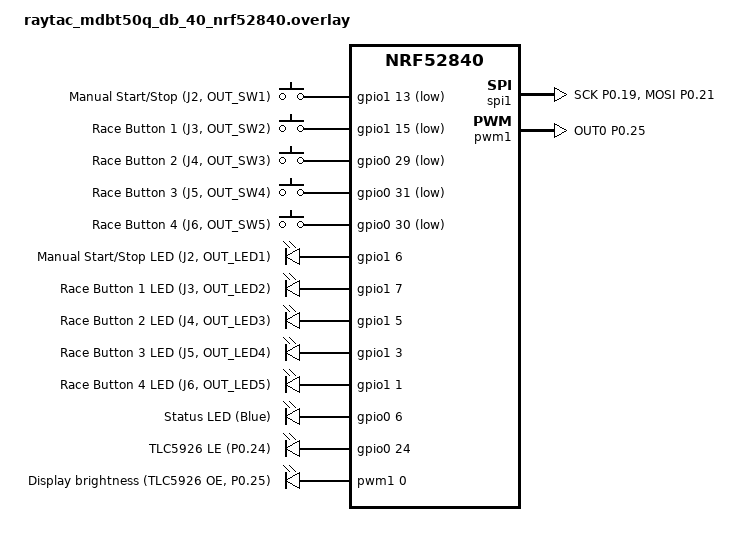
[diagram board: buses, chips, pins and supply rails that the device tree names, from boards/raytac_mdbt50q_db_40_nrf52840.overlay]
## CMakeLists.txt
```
cmake_minimum_required(VERSION 3.20.0)

find_package(Zephyr REQUIRED HINTS $ENV{ZEPHYR_BASE})
project(race_timer_firmware)

target_sources(app PRIVATE
    src/main.c
    src/ble_race_service.c
    src/buttons.c
    src/leds.c
    src/display.c
    src/race_timer.c
    src/race_manager.c
)

target_include_directories(app PRIVATE
    src
)
```

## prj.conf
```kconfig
# General
CONFIG_LOG=y
CONFIG_CONSOLE=y
# CONFIG_HEAP_MEM_POOL_SIZE=2048

# RTT console for logging (Segger J-Link)
CONFIG_USE_SEGGER_RTT=y
CONFIG_RTT_CONSOLE=y
CONFIG_LOG_BACKEND_RTT=y
CONFIG_LOG_BACKEND_UART=n

# Bluetooth
CONFIG_BT=y
CONFIG_BT_SMP=y
CONFIG_BT_PERIPHERAL=y
CONFIG_BT_DEVICE_NAME="RaceTimer"
CONFIG_BT_DEVICE_APPEARANCE=768
CONFIG_BT_MAX_CONN=5
CONFIG_BT_MAX_PAIRED=5

# GPIO
CONFIG_GPIO=y

# SPI + PWM + LED API for TLC5926 daisy-chain display driver
CONFIG_SPI=y
CONFIG_PWM=y
CONFIG_LED=y
CONFIG_LED_PWM=y
```

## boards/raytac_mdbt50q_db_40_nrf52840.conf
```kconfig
# Board-specific Kconfig for Raytac MDBT50Q-DB-40
# Disable UART console — using J-Link RTT instead.
CONFIG_SERIAL=n
CONFIG_UART_CONSOLE=n
```

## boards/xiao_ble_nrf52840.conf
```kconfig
# Board-specific Kconfig for Xiao BLE nRF52840
# Disable USB CDC ACM serial backend — using J-Link RTT for console.
CONFIG_BOARD_SERIAL_BACKEND_CDC_ACM=n
```

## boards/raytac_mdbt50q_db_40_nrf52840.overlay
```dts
/*
 * Device Tree Overlay for Race Timer Firmware
 * Board: raytac_mdbt50q_db_40/nrf52840
 *
 * This overlay disables unused/conflicting board peripherals and
 * configures the custom hardware from the Time_Clock_CTRL schematic.
 */

/ {
    /* ── Disable default board LEDs (P0.13, P0.14, P0.15 - not used) ── */
    leds {
        status = "disabled";
    };

    /* ── Disable default board buttons (P0.11, P0.12, P0.24, P0.25 - conflict with SPI CS) ── */
    buttons {
        status = "disabled";
    };

    /* ── Custom race button inputs ── */
    /* Active LOW with external 10k pull-ups to 3V3 on the mainboard */
    /* OUT_SW1 = Manual Start/Stop (auxiliary), OUT_SW2-SW5 = Race Buttons 1-4 */
    race_buttons {
        compatible = "gpio-keys";
        status = "okay";

        button_sw1: button_sw1 {
            gpios = <&gpio1 13 (GPIO_ACTIVE_LOW)>;
            label = "Manual Start/Stop (J2, OUT_SW1)";
        };
        button_sw2: button_sw2 {
            gpios = <&gpio1 15 (GPIO_ACTIVE_LOW)>;
            label = "Race Button 1 (J3, OUT_SW2)";
        };
        button_sw3: button_sw3 {
            gpios = <&gpio0 29 (GPIO_ACTIVE_LOW)>;
            label = "Race Button 2 (J4, OUT_SW3)";
        };
        button_sw4: button_sw4 {
            gpios = <&gpio0 31 (GPIO_ACTIVE_LOW)>;
            label = "Race Button 3 (J5, OUT_SW4)";
        };
        button_sw5: button_sw5 {
            gpios = <&gpio0 30 (GPIO_ACTIVE_LOW)>;
            label = "Race Button 4 (J6, OUT_SW5)";
        };
    };

    /* ── Custom button LED outputs ── */
    /* Active HIGH → NPN transistor (DDTD113ZC) → 12V button LED */
    /* LED1 = Manual Start/Stop LED, LED2-LED5 = Race Button 1-4 LEDs */
    race_leds {
        compatible = "gpio-leds";
        status = "okay";

        led_btn1: led_btn1 {
            gpios = <&gpio1 6 GPIO_ACTIVE_HIGH>;
            label = "Manual Start/Stop LED (J2, OUT_LED1)";
        };
        led_btn2: led_btn2 {
            gpios = <&gpio1 7 GPIO_ACTIVE_HIGH>;
            label = "Race Button 1 LED (J3, OUT_LED2)";
        };
        led_btn3: led_btn3 {
            gpios = <&gpio1 5 GPIO_ACTIVE_HIGH>;
            label = "Race Button 2 LED (J4, OUT_LED3)";
        };
        led_btn4: led_btn4 {
            gpios = <&gpio1 3 GPIO_ACTIVE_HIGH>;
            label = "Race Button 3 LED (J5, OUT_LED4)";
        };
        led_btn5: led_btn5 {
            gpios = <&gpio1 1 GPIO_ACTIVE_HIGH>;
            label = "Race Button 4 LED (J6, OUT_LED5)";
        };

        led_status: led_status {
            gpios = <&gpio0 6 GPIO_ACTIVE_HIGH>;
            label = "Status LED (Blue)";
        };

        /* TLC5926 latch enable (LE/ED1) — pulse high to transfer shift
         * register into output latches, then drop low to hold. */
        display_le: display_le {
            gpios = <&gpio0 24 GPIO_ACTIVE_HIGH>;
            label = "TLC5926 LE (P0.24)";
        };
    };

    /* TLC5926 output enable (OE/ED2) — active LOW. PWM duty cycle controls
     * display brightness. PWM_POLARITY_INVERTED so brightness % == on-time %:
     *   brightness 100% → OE held LOW  → outputs always enabled
     *   brightness   0% → OE held HIGH → outputs always disabled */
    display_pwmleds {
        compatible = "pwm-leds";
        status = "okay";
        display_brightness: display_brightness {
            pwms = <&pwm1 0 PWM_USEC(100) PWM_POLARITY_INVERTED>;
            label = "Display brightness (TLC5926 OE, P0.25)";
        };
    };

    /* ── Aliases ── */
    aliases {
        /* Override default board aliases */
        /delete-property/ led0;
        /delete-property/ led1;
        /delete-property/ led2;
        /delete-property/ sw0;
        /delete-property/ sw1;
        /delete-property/ sw2;
        /delete-property/ sw3;
        /delete-property/ mcuboot-button0;
        /delete-property/ mcuboot-led0;
        /delete-property/ pwm-led0;

        /* Race timer aliases */
        /* OUT_SW1 / OUT_LED1 = auxiliary (manual start/stop) = logical Button 5 */
        /* OUT_SW2-SW5 / OUT_LED2-LED5 = race buttons 1-4 */
        race-btn1 = &button_sw2;   /* Race Button 1 → OUT_SW2 (P1.15, J3) */
        race-btn2 = &button_sw3;   /* Race Button 2 → OUT_SW3 (P0.29, J4) */
        race-btn3 = &button_sw4;   /* Race Button 3 → OUT_SW4 (P0.31, J5) */
        race-btn4 = &button_sw5;   /* Race Button 4 → OUT_SW5 (P0.30, J6) */
        race-btn5 = &button_sw1;   /* Manual Start/Stop → OUT_SW1 (P1.13, J2) */
        race-led1 = &led_btn2;     /* Race LED 1 → OUT_LED2 (P1.07, J3) */
        race-led2 = &led_btn3;     /* Race LED 2 → OUT_LED3 (P1.05, J4) */
        race-led3 = &led_btn4;     /* Race LED 3 → OUT_LED4 (P1.03, J5) */
        race-led4 = &led_btn5;     /* Race LED 4 → OUT_LED5 (P1.01, J6) */
        race-led5 = &led_btn1;     /* Manual Start/Stop LED → OUT_LED1 (P1.06, J2) */
        status-led = &led_status;

        /* TLC5926 daisy-chain control */
        display-le = &display_le;
        display-brightness = &display_brightness;
    };
};

/* ── Disable conflicting peripherals ── */

/* UART0 uses P0.06 (our status LED), P0.05, P0.07, P0.08 */
&uart0 {
    status = "disabled";
};

/* UART1 uses P1.01 (our LED 5), P1.02 */
&uart1 {
    status = "disabled";
};

/* I2C1 uses P0.30/P0.31 (our buttons 4 & 5) - cannot coexist with our SPI1 */
/* i2c1 is already disabled in the board DTS */

/* PWM0 uses P0.13-P0.15 - disable to free those pins */
&pwm0 {
    status = "disabled";
};

/* Disable PWM LEDs */
/ {
    pwmleds {
        status = "disabled";
    };
};

/* QSPI uses P0.19-P0.23 which conflicts with our SPI SCK (P0.19) and MOSI (P0.21) */
&qspi {
    status = "disabled";
};

/* SPI0 shares I2C0 pins - disable if not needed */
/* spi0 is already disabled in the board DTS (cannot coexist with i2c0) */

/* SPI2 uses P0.19-P0.21 which conflicts with our custom SPI pins */
&spi2 {
    status = "disabled";
};

/* ── Reconfigure SPI1 for TLC5926 daisy-chain ── */
/* SCK  → P0.19 → TLC5926 CLK (shared by Seg A and Seg B in chain)
 * MOSI → P0.21 → TLC5926 SDI (data into Seg B, daisy-chains into Seg A)
 * MISO → P0.20 → TLC5926 SDO loop-back (declared but not used in code)
 * No CS — TLC5926 uses the LE pin (separate GPIO, see display_le above)
 * to latch shifted data into outputs. */
&spi1 {
    compatible = "nordic,nrf-spim";
    status = "okay";
    pinctrl-0 = <&spi1_custom_default>;
    pinctrl-1 = <&spi1_custom_sleep>;
    pinctrl-names = "default", "sleep";
};

&pinctrl {
    spi1_custom_default: spi1_custom_default {
        group1 {
            psels = <NRF_PSEL(SPIM_SCK, 0, 19)>,
                    <NRF_PSEL(SPIM_MOSI, 0, 21)>;
        };
    };
    spi1_custom_sleep: spi1_custom_sleep {
        group1 {
            psels = <NRF_PSEL(SPIM_SCK, 0, 19)>,
                    <NRF_PSEL(SPIM_MOSI, 0, 21)>;
            low-power-enable;
        };
    };
};

/* ── PWM1 channel 0 on P0.25 → TLC5926 OE for brightness control ── */
&pwm1 {
    status = "okay";
    pinctrl-0 = <&pwm1_default>;
    pinctrl-1 = <&pwm1_sleep>;
    pinctrl-names = "default", "sleep";
};

&pinctrl {
    pwm1_default: pwm1_default {
        group1 {
            psels = <NRF_PSEL(PWM_OUT0, 0, 25)>;
        };
    };
    pwm1_sleep: pwm1_sleep {
        group1 {
            psels = <NRF_PSEL(PWM_OUT0, 0, 25)>;
            low-power-enable;
        };
    };
};
```

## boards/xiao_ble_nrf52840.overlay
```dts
/*
 * Device Tree Overlay for Race Timer Firmware — TEST BUILD
 * Board: xiao_ble/nrf52840 (Seeed XIAO BLE nRF52840)
 *
 * This overlay maps race timer hardware to the Xiao BLE header pins
 * for bench testing with nRF Connect. No source code changes required.
 *
 * ┌──────────────────────────────────────────────────────────┐
 * │  XIAO BLE nRF52840 — Test Pin Assignment                │
 * │                                                          │
 * │  Header   GPIO     Function            How to test           │
 * │  ──────   ─────    ───────────         ────────────────────  │
 * │  D0       P0.02    Manual Start/Stop   Ground with jumper    │
 * │  D1       P0.03    Race Button 1       Ground with jumper    │
 * │  D2       P0.28    Race Button 2       Ground with jumper    │
 * │  D3       P0.29    Race Button 3       Ground with jumper    │
 * │  D4       P0.04    Race Button 4       Ground with jumper    │
 * │  D5       P0.05    LED 1 (dummy)   (output, not wired)   │
 * │  D6       P1.11    LED 2 (dummy)   (output, not wired)   │
 * │  D7       P1.12    LED 3 (dummy)   (output, not wired)   │
 * │  D8       P1.13    LED 4 (dummy)   (output, not wired)   │
 * │  D9       P1.14    LED 5 (dummy)   (output, not wired)   │
 * │  D13      P0.06    Status LED      (built-in blue LED)    │
 * │                                                          │
 * │  SPI (dummy, no MAX7221 connected — display init will    │
 * │       succeed but display does nothing):                 │
 * │  (int)    P0.13    SPI1 SCK        (not on header)       │
 * │  (int)    P0.14    SPI1 MOSI       (not on header)       │
 * │  (int)    P0.15    SPI1 CS         (not on header)       │
 * └──────────────────────────────────────────────────────────┘
 *
 * Buttons: Use internal pull-ups (no external pull-ups on Xiao).
 *          Grounding a pin = button press (active LOW).
 */

/ {
    /* ── Console is already set to USB CDC ACM by the board DTS ──
     * (via cdc_acm_serial.dtsi → board_cdc_acm_uart)
     * No need to override chosen here. */

    /* ── Disable default board LEDs and PWM LEDs ── */
    leds {
        status = "disabled";
    };

    pwmleds {
        status = "disabled";
    };

    /* ── Custom race button inputs ── */
    /* Internal pull-ups enabled (Xiao has no external pull-ups) */
    race_buttons {
        compatible = "gpio-keys";
        status = "okay";

        button_sw1: button_sw1 {
            gpios = <&gpio0 2 (GPIO_ACTIVE_LOW | GPIO_PULL_UP)>;
            label = "Manual Start/Stop (D0)";
        };
        button_sw2: button_sw2 {
            gpios = <&gpio0 3 (GPIO_ACTIVE_LOW | GPIO_PULL_UP)>;
            label = "Race Button 1 (D1)";
        };
        button_sw3: button_sw3 {
            gpios = <&gpio0 28 (GPIO_ACTIVE_LOW | GPIO_PULL_UP)>;
            label = "Race Button 2 (D2)";
        };
        button_sw4: button_sw4 {
            gpios = <&gpio0 29 (GPIO_ACTIVE_LOW | GPIO_PULL_UP)>;
            label = "Race Button 3 (D3)";
        };
        button_sw5: button_sw5 {
            gpios = <&gpio0 4 (GPIO_ACTIVE_LOW | GPIO_PULL_UP)>;
            label = "Race Button 4 (D4)";
        };
    };

    /* ── Custom LED outputs ── */
    /* Active HIGH — these are dummy GPIO outputs for testing.
     * No physical LEDs are connected on Xiao, but the code
     * will toggle them without errors. */
    race_leds {
        compatible = "gpio-leds";
        status = "okay";

        led_btn1: led_btn1 {
            gpios = <&gpio0 5 GPIO_ACTIVE_HIGH>;
            label = "Manual Start/Stop LED (D5, dummy)";
        };
        led_btn2: led_btn2 {
            gpios = <&gpio1 11 GPIO_ACTIVE_HIGH>;
            label = "Race Button 1 LED (D6, dummy)";
        };
        led_btn3: led_btn3 {
            gpios = <&gpio1 12 GPIO_ACTIVE_HIGH>;
            label = "Race Button 2 LED (D7, dummy)";
        };
        led_btn4: led_btn4 {
            gpios = <&gpio1 13 GPIO_ACTIVE_HIGH>;
            label = "Race Button 3 LED (D8, dummy)";
        };
        led_btn5: led_btn5 {
            gpios = <&gpio1 14 GPIO_ACTIVE_HIGH>;
            label = "Race Button 4 LED (D9, dummy)";
        };

        led_status: led_status {
            gpios = <&gpio0 6 GPIO_ACTIVE_LOW>;
            label = "Status LED (D13, built-in blue)";
        };
    };

    /* ── Aliases ── */
    aliases {
        /* Remove default board LED aliases that conflict */
        /delete-property/ led0;
        /delete-property/ led1;
        /delete-property/ led2;
        /delete-property/ pwm-led0;
        /delete-property/ mcuboot-led0;

        /* Race timer aliases (must match raytac overlay) */
        /* SW1 / LED1 = auxiliary (manual start/stop) = logical Button 5 */
        /* SW2-SW5 / LED2-LED5 = race buttons 1-4 */
        race-btn1 = &button_sw2;   /* Race Button 1 → D1 (P0.03) */
        race-btn2 = &button_sw3;   /* Race Button 2 → D2 (P0.28) */
        race-btn3 = &button_sw4;   /* Race Button 3 → D3 (P0.29) */
        race-btn4 = &button_sw5;   /* Race Button 4 → D4 (P0.04) */
        race-btn5 = &button_sw1;   /* Manual Start/Stop → D0 (P0.02) */
        race-led1 = &led_btn2;     /* Race LED 1 → D6 */
        race-led2 = &led_btn3;     /* Race LED 2 → D7 */
        race-led3 = &led_btn4;     /* Race LED 3 → D8 */
        race-led4 = &led_btn5;     /* Race LED 4 → D9 */
        race-led5 = &led_btn1;     /* Manual Start/Stop LED → D5 */
        status-led = &led_status;
    };
};

/* ── Disable conflicting peripherals ── */

/* UART0 may use pins we need — disable it */
&uart0 {
    status = "disabled";
};

/* PWM0 — disable to free pins */
&pwm0 {
    status = "disabled";
};

/* Disable QSPI (used on Xiao BLE Sense for flash) */
&qspi {
    status = "disabled";
};

/* Disable I2C0 and I2C1 to prevent pin conflicts */
&i2c0 {
    status = "disabled";
};

&i2c1 {
    status = "disabled";
};

/* Disable default SPI instances that might conflict */
&spi0 {
    status = "disabled";
};

&spi2 {
    status = "disabled";
};

/* ── Configure SPI1 for MAX7221 display (dummy — no chip connected) ── */
/* This keeps display.c compiling and running. SPI writes go to
 * unconnected internal pins, which is harmless. display_init()
 * will succeed, but the display simply does nothing. */
&spi1 {
    compatible = "nordic,nrf-spim";
    status = "okay";
    pinctrl-0 = <&spi1_xiao_default>;
    pinctrl-1 = <&spi1_xiao_sleep>;
    pinctrl-names = "default", "sleep";
    cs-gpios = <&gpio0 15 GPIO_ACTIVE_LOW>;
};

&pinctrl {
    spi1_xiao_default: spi1_xiao_default {
        group1 {
            psels = <NRF_PSEL(SPIM_SCK, 0, 13)>,
                    <NRF_PSEL(SPIM_MOSI, 0, 14)>;
        };
    };
    spi1_xiao_sleep: spi1_xiao_sleep {
        group1 {
            psels = <NRF_PSEL(SPIM_SCK, 0, 13)>,
                    <NRF_PSEL(SPIM_MOSI, 0, 14)>;
            low-power-enable;
        };
    };
};

/* ── USB CDC ACM disabled via Kconfig (BOARD_SERIAL_BACKEND_CDC_ACM=n) ──
 * Using J-Link RTT for console instead.
 */
```

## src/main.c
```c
/*
 * Race Timer Firmware - Main Entry Point
 *
 * Digital Electronic Stopwatch firmware for nRF52840 (MDBT50Q-P1M).
 * Communicates with iOS app via BLE to manage race timing.
 *
 * Hardware:
 *   - MCU: nRF52840 (MDBT50Q-P1MV2 module)
 *   - 4 race buttons + 1 auxiliary (JST connectors J2-J6)
 *   - 5 button LEDs (12V, driven via NPN transistors)
 *   - 1 status LED (Blue, P0.06)
 *   - 4-digit seven-segment display (MAX7221 via SPI)
 *   - Power: 12V DC → 5V (LD1117) → 3.3V (TLV75733)
 *
 * Features:
 *   - BLE peripheral with custom Race Timer GATT service
 *   - Mode 1: 4 independent contestants (first press = winner)
 *   - Mode 2: 1 contestant, 4 sequential segments
 *   - Millisecond-resolution timing (mainboard is source of truth)
 *   - Real-time display update on seven-segment display
 *   - Button LED control for visual feedback
 */

#include <stdio.h>
#include <zephyr/kernel.h>
#include <zephyr/logging/log.h>

#include "race_manager.h"

LOG_MODULE_REGISTER(main, LOG_LEVEL_INF);

int main(void)
{
    int err;

    /* Brief delay to allow USB CDC ACM to enumerate (Xiao BLE) */
    k_msleep(1000);

    printf("\n");
    printf("======================================\n");
    printf("  Race Timer Firmware v1.0.0\n");
    printf("  nRF52840 — UART Console Active\n");
    printf("======================================\n");

    /* Initialize the race manager (initializes all subsystems) */
    err = race_manager_init();
    if (err) {
        LOG_ERR("Race manager init failed (err %d)", err);
        printf("ERROR: Race manager init failed (err %d)\n", err);
        return err;
    }

    LOG_INF("System ready. Waiting for BLE connection...");
    printf("System ready. Waiting for BLE connection...\n");

    return 0;
}
```

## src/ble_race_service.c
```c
/*
 * BLE Race Timer Service Implementation
 *
 * Custom GATT service using Zephyr BLE stack for communication with the
 * iOS race timer application.
 */

#include <errno.h>
#include <zephyr/bluetooth/bluetooth.h>
#include <zephyr/bluetooth/conn.h>
#include <zephyr/bluetooth/gatt.h>
#include <zephyr/bluetooth/hci.h>
#include <zephyr/bluetooth/uuid.h>
#include <zephyr/kernel.h>
#include <zephyr/logging/log.h>

#include "ble_race_service.h"

LOG_MODULE_REGISTER(ble_race, LOG_LEVEL_INF);

#define BT_UUID_RACE_SERVICE_VAL \
    BT_UUID_128_ENCODE(0x00001000, 0x7261, 0x6365, 0x7469, 0x6d6572303031)
#define BT_UUID_RACE_COMMAND_VAL \
    BT_UUID_128_ENCODE(0x00001001, 0x7261, 0x6365, 0x7469, 0x6d6572303031)
#define BT_UUID_RACE_EVENT_VAL \
    BT_UUID_128_ENCODE(0x00001002, 0x7261, 0x6365, 0x7469, 0x6d6572303031)
#define BT_UUID_RACE_STATUS_VAL \
    BT_UUID_128_ENCODE(0x00001003, 0x7261, 0x6365, 0x7469, 0x6d6572303031)

static struct bt_uuid_128 race_service_uuid = BT_UUID_INIT_128(BT_UUID_RACE_SERVICE_VAL);
static struct bt_uuid_128 race_cmd_uuid = BT_UUID_INIT_128(BT_UUID_RACE_COMMAND_VAL);
static struct bt_uuid_128 race_evt_uuid = BT_UUID_INIT_128(BT_UUID_RACE_EVENT_VAL);
static struct bt_uuid_128 race_status_uuid = BT_UUID_INIT_128(BT_UUID_RACE_STATUS_VAL);

static const struct ble_race_service_cb *service_cb;
static struct bt_conn *current_conn;
static bool notifications_enabled;
static uint8_t race_status_value;

static void evt_ccc_cfg_changed(const struct bt_gatt_attr *attr, uint16_t value)
{
    ARG_UNUSED(attr);
    notifications_enabled = (value == BT_GATT_CCC_NOTIFY);
    LOG_INF("Event notifications %s", notifications_enabled ? "enabled" : "disabled");
}

static ssize_t on_cmd_write(struct bt_conn *conn,
                            const struct bt_gatt_attr *attr,
                            const void *buf, uint16_t len,
                            uint16_t offset, uint8_t flags)
{
    ARG_UNUSED(conn);
    ARG_UNUSED(attr);
    ARG_UNUSED(flags);

    if (offset != 0U) {
        LOG_WRN("Rejecting command write with non-zero offset: %u", offset);
        return BT_GATT_ERR(BT_ATT_ERR_INVALID_OFFSET);
    }

    if (len != sizeof(struct race_cmd_packet)) {
        LOG_WRN("Invalid command packet size: %u bytes", len);
        return BT_GATT_ERR(BT_ATT_ERR_INVALID_ATTRIBUTE_LEN);
    }

    if (service_cb && service_cb->on_command) {
        const struct race_cmd_packet *cmd = buf;
        LOG_INF("Received command: type=0x%02X, mode=0x%02X", cmd->cmd_type, cmd->mode);
        service_cb->on_command(cmd);
    }

    return len;
}

static ssize_t on_status_read(struct bt_conn *conn,
                              const struct bt_gatt_attr *attr,
                              void *buf, uint16_t len,
                              uint16_t offset)
{
    return bt_gatt_attr_read(conn, attr, buf, len, offset,
                             &race_status_value, sizeof(race_status_value));
}

BT_GATT_SERVICE_DEFINE(race_svc,
    BT_GATT_PRIMARY_SERVICE(&race_service_uuid),
    BT_GATT_CHARACTERISTIC(&race_cmd_uuid.uuid,
                           BT_GATT_CHRC_WRITE | BT_GATT_CHRC_WRITE_WITHOUT_RESP,
                           BT_GATT_PERM_WRITE,
                           NULL, on_cmd_write, NULL),
    BT_GATT_CHARACTERISTIC(&race_evt_uuid.uuid,
                           BT_GATT_CHRC_NOTIFY,
                           BT_GATT_PERM_NONE,
                           NULL, NULL, NULL),
    BT_GATT_CCC(evt_ccc_cfg_changed, BT_GATT_PERM_READ | BT_GATT_PERM_WRITE),
    BT_GATT_CHARACTERISTIC(&race_status_uuid.uuid,
                           BT_GATT_CHRC_READ,
                           BT_GATT_PERM_READ,
                           on_status_read, NULL, &race_status_value),
);

static const struct bt_data ad[] = {
    BT_DATA_BYTES(BT_DATA_FLAGS, (BT_LE_AD_GENERAL | BT_LE_AD_NO_BREDR)),
    BT_DATA_BYTES(BT_DATA_UUID128_ALL, BT_UUID_RACE_SERVICE_VAL),
};

static const struct bt_data sd[] = {
    BT_DATA(BT_DATA_NAME_COMPLETE, "RaceTimer", sizeof("RaceTimer") - 1),
};

static void connected(struct bt_conn *conn, uint8_t err)
{
    if (err) {
        LOG_ERR("Connection failed (err %u)", err);
        return;
    }

    if (current_conn != NULL) {
        bt_conn_unref(current_conn);
        current_conn = NULL;
    }

    current_conn = bt_conn_ref(conn);
    LOG_INF("BLE connected");

    if (service_cb && service_cb->on_connection_change) {
        service_cb->on_connection_change(true);
    }
}

static void disconnected(struct bt_conn *conn, uint8_t reason)
{
    LOG_INF("BLE disconnected (reason %u)", reason);

    if (current_conn == conn) {
        bt_conn_unref(current_conn);
        current_conn = NULL;
    } else if (current_conn != NULL) {
        bt_conn_unref(current_conn);
        current_conn = NULL;
    }

    notifications_enabled = false;

    if (service_cb && service_cb->on_connection_change) {
        service_cb->on_connection_change(false);
    }

    (void)ble_race_service_start_advertising();
}

BT_CONN_CB_DEFINE(conn_callbacks) = {
    .connected = connected,
    .disconnected = disconnected,
};

int ble_race_service_init(const struct ble_race_service_cb *callbacks)
{
    int err;

    service_cb = callbacks;
    notifications_enabled = false;
    race_status_value = 0U;

    err = bt_enable(NULL);
    if (err) {
        LOG_ERR("Bluetooth init failed (err %d)", err);
        return err;
    }

    LOG_INF("Bluetooth initialized");
    return 0;
}

int ble_race_service_start_advertising(void)
{
    int err;

    err = bt_le_adv_start(BT_LE_ADV_CONN_FAST_1, ad, ARRAY_SIZE(ad), sd, ARRAY_SIZE(sd));
    if (err == -EALREADY) {
        LOG_DBG("Advertising already active");
        return 0;
    }

    if (err) {
        LOG_ERR("Advertising failed to start (err %d)", err);
        return err;
    }

    LOG_INF("Advertising started");
    return 0;
}

int ble_race_service_notify(const struct race_event_packet *evt)
{
    const struct bt_gatt_attr *evt_attr = &race_svc.attrs[4];

    if (evt == NULL) {
        return -EINVAL;
    }

    if (current_conn == NULL) {
        return -ENOTCONN;
    }

    if (!notifications_enabled) {
        return -EACCES;
    }

    return bt_gatt_notify(current_conn, evt_attr, evt, sizeof(*evt));
}

bool ble_race_service_is_connected(void)
{
    return (current_conn != NULL);
}

void ble_race_service_set_status(uint8_t status)
{
    race_status_value = status;
}
```

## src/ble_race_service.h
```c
/*
 * BLE Race Timer Service
 *
 * Custom GATT service for race timer communication with iOS app.
 *
 * Service UUID: 00001000-7261-6365-7469-6d6572303031
 *   - Command Characteristic (Write):  00001001-...  (app → mainboard)
 *   - Event Characteristic (Notify):   00001002-...  (mainboard → app)
 *   - Status Characteristic (Read):    00001003-...  (race state)
 */

#ifndef BLE_RACE_SERVICE_H_
#define BLE_RACE_SERVICE_H_

#include <zephyr/types.h>
#include <zephyr/bluetooth/conn.h>

#ifdef __cplusplus
extern "C" {
#endif

/* ── BLE Protocol Command IDs (app → mainboard) ── */
#define CMD_START_RACE   0x01
#define CMD_NEW_RACE     0x02
#define CMD_RESET        0x03
#define CMD_PING         0x04
#define CMD_GET_STATUS   0x05
#define CMD_SET_MODE     0x06

/* ── BLE Protocol Event IDs (mainboard → app) ── */
#define EVT_START_ACK    0x10
#define EVT_STOP_EVENT   0x11
#define EVT_RACE_COMPLETE 0x12
#define EVT_STATUS       0x13
#define EVT_PONG         0x14
#define EVT_ERROR        0x1F

/* ── Error Reason Codes (sent in button_index field of EVT_ERROR) ── */
#define ERR_REASON_UNKNOWN_CMD       0x01  /* Unrecognised command type */
#define ERR_REASON_INVALID_STATE     0x02  /* Command not allowed in current state */
#define ERR_REASON_MODE_NOT_ALLOWED  0x03  /* Cannot set mode in current state */

/* ── Race Modes ── */
#define RACE_MODE_4_CONTESTANTS  0x01
#define RACE_MODE_1_CONTESTANT   0x02

/* ── Event Packet Structure (mainboard → app) ── */
struct __packed race_event_packet {
    uint8_t  event_type;      /* EVT_* */
    uint8_t  mode;            /* RACE_MODE_* */
    uint8_t  button_index;    /* 1-4 (0 if N/A) */
    uint32_t elapsed_time_ms; /* Elapsed time in milliseconds */
    uint32_t race_id;         /* Race identifier (timestamp) */
};

/* ── Command Packet Structure (app → mainboard) ── */
struct __packed race_cmd_packet {
    uint8_t  cmd_type;        /* CMD_* */
    uint8_t  mode;            /* RACE_MODE_* (for CMD_SET_MODE) */
    uint8_t  reserved[2];     /* Padding */
};

/* Callback for received commands */
typedef void (*ble_race_cmd_cb_t)(const struct race_cmd_packet *cmd);

/* Callback for connection state changes */
typedef void (*ble_race_conn_cb_t)(bool connected);

struct ble_race_service_cb {
    ble_race_cmd_cb_t   on_command;
    ble_race_conn_cb_t  on_connection_change;
};

/**
 * @brief Initialize the BLE Race Timer service.
 *
 * @param callbacks Pointer to callback structure.
 * @return 0 on success, negative errno on failure.
 */
int ble_race_service_init(const struct ble_race_service_cb *callbacks);

/**
 * @brief Send an event notification to the connected iOS app.
 *
 * @param evt Pointer to event packet to send.
 * @return 0 on success, negative errno on failure.
 */
int ble_race_service_notify(const struct race_event_packet *evt);

/**
 * @brief Check if a BLE client is connected.
 *
 * @return true if connected, false otherwise.
 */
bool ble_race_service_is_connected(void);

/**
 * @brief Update the race status characteristic value.
 *
 * @param status Current race state (race_state_t cast to uint8_t).
 */
void ble_race_service_set_status(uint8_t status);

/**
 * @brief Start BLE advertising.
 *
 * @return 0 on success, negative errno on failure.
 */
int ble_race_service_start_advertising(void);

#ifdef __cplusplus
}
#endif

#endif /* BLE_RACE_SERVICE_H_ */
```

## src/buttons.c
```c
/*
 * Button Handler Implementation
 *
 * GPIO interrupt-driven button detection for 5 physical race buttons.
 * Hardware: External buttons via JST connectors (J2-J6) with 10k pull-ups
 *           to 3V3. Active LOW when pressed.
 *
 * Pin Mapping (from schematic):
 *   Button 1 (J3): P1.15 (OUT_SW2) - Race contestant 1
 *   Button 2 (J4): P0.29 (OUT_SW3) - Race contestant 2
 *   Button 3 (J5): P0.31 (OUT_SW4) - Race contestant 3
 *   Button 4 (J6): P0.30 (OUT_SW5) - Race contestant 4
 *   Button 5 (J2): P1.13 (OUT_SW1) - Manual start/stop (auxiliary)
 */

#include <zephyr/kernel.h>
#include <zephyr/device.h>
#include <zephyr/drivers/gpio.h>
#include <zephyr/logging/log.h>

#include "buttons.h"

LOG_MODULE_REGISTER(buttons, LOG_LEVEL_INF);

/* Debounce time in milliseconds */
#define DEBOUNCE_MS 200

/* Device tree node references for buttons */
#define BTN_NODE(n) DT_ALIAS(race_btn##n)

static const struct gpio_dt_spec button_specs[NUM_TOTAL_BUTTONS] = {
    GPIO_DT_SPEC_GET(BTN_NODE(1), gpios),
    GPIO_DT_SPEC_GET(BTN_NODE(2), gpios),
    GPIO_DT_SPEC_GET(BTN_NODE(3), gpios),
    GPIO_DT_SPEC_GET(BTN_NODE(4), gpios),
    GPIO_DT_SPEC_GET(BTN_NODE(5), gpios),
};

static struct gpio_callback button_cb_data[NUM_TOTAL_BUTTONS];
static button_press_cb_t user_callback;
static int64_t last_press_time[NUM_TOTAL_BUTTONS];
static bool buttons_active;

/* Work item for deferred processing (called from ISR context) */
struct button_work_data {
    struct k_work work;
    uint8_t button_index;
    uint32_t timestamp_ms;
};

static struct button_work_data btn_work[NUM_TOTAL_BUTTONS];

static void button_work_handler(struct k_work *work)
{
    struct button_work_data *data = CONTAINER_OF(work, struct button_work_data, work);

    if (user_callback && buttons_active) {
        user_callback(data->button_index, data->timestamp_ms);
    }
}

static void button_isr(const struct device *dev, struct gpio_callback *cb, uint32_t pins)
{
    int64_t now = k_uptime_get();

    /* Determine which button triggered the interrupt */
    for (int i = 0; i < NUM_TOTAL_BUTTONS; i++) {
        if (dev == button_specs[i].port &&
            (pins & BIT(button_specs[i].pin))) {

            /* Debounce check */
            if ((now - last_press_time[i]) < DEBOUNCE_MS) {
                return;
            }
            last_press_time[i] = now;

            LOG_INF("Button %d pressed at %lld ms", i + 1, now);

            /* Submit work for deferred callback execution */
            btn_work[i].button_index = i + 1;  /* 1-indexed */
            btn_work[i].timestamp_ms = (uint32_t)now;
            k_work_submit(&btn_work[i].work);
            return;
        }
    }
}

int buttons_init(button_press_cb_t callback)
{
    int err;

    user_callback = callback;
    buttons_active = false;

    for (int i = 0; i < NUM_TOTAL_BUTTONS; i++) {
        if (!gpio_is_ready_dt(&button_specs[i])) {
            LOG_ERR("Button %d GPIO device not ready", i + 1);
            return -ENODEV;
        }

        err = gpio_pin_configure_dt(&button_specs[i], GPIO_INPUT);
        if (err) {
            LOG_ERR("Failed to configure button %d GPIO (err %d)", i + 1, err);
            return err;
        }

        /* Initialize work items */
        k_work_init(&btn_work[i].work, button_work_handler);

        /* Configure interrupt on falling edge (active LOW buttons) */
        err = gpio_pin_interrupt_configure_dt(&button_specs[i],
                                               GPIO_INT_EDGE_TO_ACTIVE);
        if (err) {
            LOG_ERR("Failed to configure button %d interrupt (err %d)", i + 1, err);
            return err;
        }

        gpio_init_callback(&button_cb_data[i], button_isr,
                          BIT(button_specs[i].pin));
        err = gpio_add_callback(button_specs[i].port, &button_cb_data[i]);
        if (err) {
            LOG_ERR("Failed to add button %d callback (err %d)", i + 1, err);
            return err;
        }

        /* Start with interrupts disabled */
        gpio_pin_interrupt_configure_dt(&button_specs[i], GPIO_INT_DISABLE);

        last_press_time[i] = 0;

        LOG_INF("Button %d initialized", i + 1);
    }

    LOG_INF("All buttons initialized");
    return 0;
}

void buttons_enable(void)
{
    buttons_active = true;

    for (int i = 0; i < NUM_TOTAL_BUTTONS; i++) {
        gpio_pin_interrupt_configure_dt(&button_specs[i],
                                         GPIO_INT_EDGE_TO_ACTIVE);
    }

    LOG_INF("Button interrupts enabled");
}

void buttons_disable(void)
{
    buttons_active = false;

    for (int i = 0; i < NUM_TOTAL_BUTTONS; i++) {
        gpio_pin_interrupt_configure_dt(&button_specs[i], GPIO_INT_DISABLE);
    }

    LOG_INF("Button interrupts disabled");
}

bool buttons_is_pressed(uint8_t button_index)
{
    if (button_index < 1 || button_index > NUM_TOTAL_BUTTONS) {
        return false;
    }

    /* gpio_pin_get_dt returns 1 when active (button pressed) due to GPIO_ACTIVE_LOW flag */
    return gpio_pin_get_dt(&button_specs[button_index - 1]) == 1;
}
```

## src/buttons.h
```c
/*
 * Button Handler
 *
 * Manages the 5 physical race buttons (4 contestant + 1 auxiliary).
 * Uses GPIO interrupts for precise timing of button press events.
 */

#ifndef BUTTONS_H_
#define BUTTONS_H_

#include <zephyr/types.h>

#ifdef __cplusplus
extern "C" {
#endif

#define NUM_RACE_BUTTONS  4  /* Buttons 1-4 for contestants */
#define NUM_TOTAL_BUTTONS 5  /* Including button 5 (auxiliary) */

/**
 * @brief Callback invoked when a race button is pressed.
 *
 * @param button_index Button number (1-5).
 * @param timestamp_ms Kernel uptime in milliseconds at time of press.
 */
typedef void (*button_press_cb_t)(uint8_t button_index, uint32_t timestamp_ms);

/**
 * @brief Initialize all race button GPIOs with interrupt handling.
 *
 * @param callback Function called on button press events.
 * @return 0 on success, negative errno on failure.
 */
int buttons_init(button_press_cb_t callback);

/**
 * @brief Enable button interrupts (call before race start).
 */
void buttons_enable(void);

/**
 * @brief Disable button interrupts (call when race not active).
 */
void buttons_disable(void);

/**
 * @brief Check if a specific button is currently pressed.
 *
 * @param button_index Button number (1-5).
 * @return true if button is currently pressed (active), false otherwise.
 */
bool buttons_is_pressed(uint8_t button_index);

#ifdef __cplusplus
}
#endif

#endif /* BUTTONS_H_ */
```

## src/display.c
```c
/*
 * TLC5926 Daisy-Chain Display Driver Implementation
 *
 * See display.h for the chain wiring and bit-layout documentation.
 *
 * Update sequence on every display change:
 *   1. SPI write of 4 bytes (32 bits) — first byte goes deepest into the
 *      chain and ends up in Seg A; last byte stays in Seg B.
 *   2. Pulse LE high → low. While LE is high the output latches are
 *      transparent to the shift register; the falling edge latches the
 *      new values so the outputs hold them until the next update.
 *
 * Brightness is controlled by PWMing the active-LOW OE pin via the
 * pwm-leds (LED) API. The DT entry uses PWM_POLARITY_INVERTED so that an
 * LED-API brightness of 100 % corresponds to OE held LOW (always enabled).
 */

#include <errno.h>
#include <string.h>
#include <zephyr/device.h>
#include <zephyr/drivers/gpio.h>
#include <zephyr/drivers/led.h>
#include <zephyr/drivers/spi.h>
#include <zephyr/kernel.h>
#include <zephyr/logging/log.h>

#include "display.h"

LOG_MODULE_REGISTER(display, LOG_LEVEL_INF);

#define TLC5926_SPI_FREQUENCY_HZ 1000000U

/*
 * 7-segment font. Bit mapping matches the TLC5926 output ordering on each
 * segment board:
 *   bit 0 = A (top)        bit 4 = E (lower left)
 *   bit 1 = B (upper right) bit 5 = F (upper left)
 *   bit 2 = C (lower right) bit 6 = G (middle)
 *   bit 3 = D (bottom)
 */
static const uint8_t SEGMENT_FONT_DIGIT[] = {
    0x3F, /* 0 */
    0x06, /* 1 */
    0x5B, /* 2 */
    0x4F, /* 3 */
    0x66, /* 4 */
    0x6D, /* 5 */
    0x7D, /* 6 */
    0x07, /* 7 */
    0x7F, /* 8 */
    0x6F, /* 9 */
};

#define SEG_CHAR_d 0x5EU /* lowercase d */
#define SEG_CHAR_O 0x3FU
#define SEG_CHAR_n 0x54U /* lowercase n */
#define SEG_CHAR_E 0x79U
#define SEG_BLANK  0x00U

/* ─────────────────────────────────────────────────────────────────────────
 * BOARD WIRING / CALIBRATION
 *
 * If the digits show up in the wrong physical order on the clock, change
 * the four mapping macros below. They pick which logical clock digit
 * (0 = rightmost, 3 = leftmost; same indexing as display_time() output)
 * is driven by each of the four TLC5926 digit positions in the chain.
 *
 * Position naming:
 *   SEG_A_LEFT_DIGIT  = TLC5926 outputs OUT7..OUT13 on Segment A board
 *   SEG_A_RIGHT_DIGIT = TLC5926 outputs OUT0..OUT6  on Segment A board
 *   SEG_B_LEFT_DIGIT  = TLC5926 outputs OUT7..OUT13 on Segment B board
 *   SEG_B_RIGHT_DIGIT = TLC5926 outputs OUT0..OUT6  on Segment B board
 *
 * Default assumes Seg A is the LEFT board of the clock and that within
 * each board OUT7..13 ("left digit") drives the higher-order digit.
 * Common fixes if the display is wrong:
 *
 *   "12:34 shows as 34:12"  (boards swapped left↔right):
 *       swap SEG_A_LEFT/RIGHT values with SEG_B_LEFT/RIGHT values
 *
 *   "12:34 shows as 21:43"  (left↔right reversed within each board):
 *       swap SEG_A_LEFT_DIGIT ↔ SEG_A_RIGHT_DIGIT
 *       swap SEG_B_LEFT_DIGIT ↔ SEG_B_RIGHT_DIGIT
 *
 *   "12:34 shows as 4321 fully mirrored":
 *       reverse all four values (3→0, 2→1, 1→2, 0→3)
 * ───────────────────────────────────────────────────────────────────────── */
#define DISPLAY_SEG_A_LEFT_DIGIT   3U  /* leftmost digit on the clock */
#define DISPLAY_SEG_A_RIGHT_DIGIT  2U
#define DISPLAY_SEG_B_LEFT_DIGIT   1U
#define DISPLAY_SEG_B_RIGHT_DIGIT  0U  /* rightmost digit on the clock */

/* Bit position of the colon driver within the Seg B 16-bit word
 * (Seg B OUT14). User-confirmed mapping; flip to 15 if hardware
 * actually drives the colon from OUT15 instead. */
#define SEG_B_COLON_BIT 14U

/* SPI controller (no child device, no CS — TLC5926 uses LE instead). */
static const struct device *spi_bus = DEVICE_DT_GET(DT_NODELABEL(spi1));
static const struct spi_config spi_cfg = {
    .frequency = TLC5926_SPI_FREQUENCY_HZ,
    .operation = SPI_OP_MODE_MASTER | SPI_WORD_SET(8) | SPI_TRANSFER_MSB,
    .slave     = 0U,
    /* .cs left zero-initialized → no CS GPIO is toggled. */
};

/* LE latch pin (P0.24). */
static const struct gpio_dt_spec le_gpio =
    GPIO_DT_SPEC_GET(DT_NODELABEL(display_le), gpios);

/* Brightness PWM (P0.25 via pwm-leds, single channel index 0). */
static const struct device *brightness_dev =
    DEVICE_DT_GET(DT_PARENT(DT_NODELABEL(display_brightness)));
#define BRIGHTNESS_LED_INDEX 0U
#define BRIGHTNESS_DEFAULT_PCT 50U

static bool display_initialized;
static uint32_t chain_cache;
static bool chain_cache_valid;

/*
 * Pack a 32-bit chain word from four logical clock-digit patterns + colon.
 * digits[i] is the 7-segment pattern for clock position i (0 = rightmost,
 * 3 = leftmost). The four DISPLAY_SEG_*_DIGIT macros pick which clock
 * position lands at each TLC5926 output slot.
 */
static uint32_t build_chain_word(const uint8_t digits[DISPLAY_NUM_DIGITS],
                                 bool colon)
{
    uint16_t seg_a =
        ((uint16_t)(digits[DISPLAY_SEG_A_LEFT_DIGIT]  & 0x7F) << 7) |
         (uint16_t)(digits[DISPLAY_SEG_A_RIGHT_DIGIT] & 0x7F);

    uint16_t seg_b =
        ((uint16_t)(digits[DISPLAY_SEG_B_LEFT_DIGIT]  & 0x7F) << 7) |
         (uint16_t)(digits[DISPLAY_SEG_B_RIGHT_DIGIT] & 0x7F);
    if (colon) {
        seg_b |= (uint16_t)(1U << SEG_B_COLON_BIT);
    }

    /* Seg A goes out FIRST (MSBs of 32-bit word) because it sits farther down
     * the chain — the first bits shifted in get pushed all the way through. */
    return ((uint32_t)seg_a << 16) | (uint32_t)seg_b;
}

/* Write one 32-bit chain word and pulse LE to latch outputs. */
static int chain_write(uint32_t word)
{
    int err;

    if (chain_cache_valid && chain_cache == word) {
        return 0;
    }

    uint8_t tx_buf[4] = {
        (uint8_t)(word >> 24),
        (uint8_t)(word >> 16),
        (uint8_t)(word >> 8),
        (uint8_t)(word),
    };
    struct spi_buf spi_tx = { .buf = tx_buf, .len = sizeof(tx_buf) };
    struct spi_buf_set tx = { .buffers = &spi_tx, .count = 1 };

    err = spi_write(spi_bus, &spi_cfg, &tx);
    if (err) {
        chain_cache_valid = false;
        return err;
    }

    /* Pulse LE: high transfers the shift register into the output latches;
     * the falling edge holds the new values. nRF52840 GPIO writes are slow
     * enough (>20 ns) that no explicit delay is needed for TLC5926. */
    gpio_pin_set_dt(&le_gpio, 1);
    gpio_pin_set_dt(&le_gpio, 0);

    chain_cache = word;
    chain_cache_valid = true;
    return 0;
}

int display_set_brightness(uint8_t percent)
{
    if (percent > 100U) {
        percent = 100U;
    }
    if (!device_is_ready(brightness_dev)) {
        return -ENODEV;
    }
    return led_set_brightness(brightness_dev, BRIGHTNESS_LED_INDEX, percent);
}

int display_init(void)
{
    int err;

    display_initialized = false;
    chain_cache_valid = false;

    if (!device_is_ready(spi_bus)) {
        LOG_ERR("SPI1 not ready");
        return -ENODEV;
    }
    if (!gpio_is_ready_dt(&le_gpio)) {
        LOG_ERR("Display LE GPIO not ready");
        return -ENODEV;
    }
    if (!device_is_ready(brightness_dev)) {
        LOG_ERR("Display brightness PWM not ready");
        return -ENODEV;
    }

    err = gpio_pin_configure_dt(&le_gpio, GPIO_OUTPUT_INACTIVE);
    if (err) {
        LOG_ERR("LE GPIO configure failed (err %d)", err);
        return err;
    }

    /* Start with the display blanked, then enable outputs at full brightness. */
    {
        const uint8_t blank[DISPLAY_NUM_DIGITS] = { SEG_BLANK, SEG_BLANK,
                                                    SEG_BLANK, SEG_BLANK };
        err = chain_write(build_chain_word(blank, false));
    }
    if (err) {
        LOG_ERR("Initial chain blank failed (err %d)", err);
        return err;
    }

    err = display_set_brightness(BRIGHTNESS_DEFAULT_PCT);
    if (err) {
        LOG_ERR("Brightness init failed (err %d)", err);
        return err;
    }

    display_initialized = true;
    LOG_INF("TLC5926 daisy-chain display initialized");
    return 0;
}

void display_time(uint32_t time_ms)
{
    uint8_t digits[DISPLAY_NUM_DIGITS];

    if (!display_initialized) {
        return;
    }

    uint32_t total_seconds = time_ms / 1000U;
    uint32_t minutes = total_seconds / 60U;
    uint8_t seconds = (uint8_t)(total_seconds % 60U);

    if (minutes > 99U) {
        minutes = 99U;
    }

    digits[3] = SEGMENT_FONT_DIGIT[(minutes / 10U) % 10U];
    digits[2] = SEGMENT_FONT_DIGIT[minutes % 10U];
    digits[1] = SEGMENT_FONT_DIGIT[(seconds / 10U) % 10U];
    digits[0] = SEGMENT_FONT_DIGIT[seconds % 10U];

    (void)chain_write(build_chain_word(digits, /* colon = */ true));
}

void display_clear(void)
{
    const uint8_t blank[DISPLAY_NUM_DIGITS] = { SEG_BLANK, SEG_BLANK,
                                                SEG_BLANK, SEG_BLANK };

    if (!display_initialized) {
        return;
    }
    (void)chain_write(build_chain_word(blank, false));
}

void display_done(void)
{
    /* "dOnE", left → right. Indices follow display position: 3 = leftmost. */
    const uint8_t done_digits[DISPLAY_NUM_DIGITS] = {
        [3] = SEG_CHAR_d,
        [2] = SEG_CHAR_O,
        [1] = SEG_CHAR_n,
        [0] = SEG_CHAR_E,
    };

    if (!display_initialized) {
        return;
    }
    (void)chain_write(build_chain_word(done_digits, false));
}
```

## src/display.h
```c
/*
 * Seven-Segment Display Driver (TLC5926 daisy-chain, board V2.0.0)
 *
 * Two TLC5926 16-bit constant-current sink drivers — one per segment board
 * (Segment A on the left, Segment B on the right) — chained as a single
 * 32-bit shift register:
 *
 *   nRF SDI → Seg B SDI ─┐
 *                        └→ Seg B SDO → Seg A SDI ─┐
 *                                                   └→ Seg A SDO → nRF (loop-back, unused)
 *
 * Shared signals on the chain (P0.x pins on the nRF52840 module U3):
 *   SCLK → P0.19 (SPI1 SCK)        — shift clock for both chips
 *   SDI  → P0.21 (SPI1 MOSI)       — serial data into chain
 *   LE   → P0.24 (GPIO)            — pulse high to latch shifted data into outputs
 *   OE   → P0.25 (PWM1 CH0)        — active-LOW output enable / brightness PWM
 *
 * Per-chip output mapping (from Seg A schematic):
 *   OUT0..6  = right-digit segments A..G
 *   OUT7..13 = left-digit  segments A..G
 *   OUT14    = (Seg A) unused / (Seg B) SEG_COLON
 *   OUT15    = unused on both
 *
 * Chain bit layout in the 32-bit word (sent MSB-first; the first 16 bits
 * end up in Seg A because it is further down the chain):
 *
 *   bits 31..24 → Seg A high byte  (bit 31 = OUT15, bit 24 = OUT8)
 *   bits 23..16 → Seg A low byte   (bit 23 = OUT7,  bit 16 = OUT0)
 *   bits 15..8  → Seg B high byte  (bit 15 = OUT15, bit 14 = COLON, bit 8 = OUT8)
 *   bits  7..0  → Seg B low byte   (bit  7 = OUT7,  bit  0 = OUT0)
 *
 * Logical clock digit positions (left → right): digit3 digit2 [:] digit1 digit0
 *   digit3, digit2 live on Seg A (left board)
 *   digit1, digit0 live on Seg B (right board)
 */

#ifndef DISPLAY_H_
#define DISPLAY_H_

#include <zephyr/types.h>
#include <stdbool.h>

#ifdef __cplusplus
extern "C" {
#endif

#define DISPLAY_NUM_DIGITS 4

/**
 * @brief Initialize the TLC5926 daisy-chain display driver.
 * Clears the display and turns brightness on at full.
 * @return 0 on success, negative errno on failure.
 */
int display_init(void);

/**
 * @brief Display a time value in MM:SS format (colon always on).
 *
 * Values above 99:59 are clamped to 99:59.
 *
 * @param time_ms Time in milliseconds.
 */
void display_time(uint32_t time_ms);

/**
 * @brief Clear the display (all segments and colon off).
 */
void display_clear(void);

/**
 * @brief Display "donE" finish indicator.
 */
void display_done(void);

/**
 * @brief Set display brightness via PWM on the TLC5926 OE pin.
 *
 * @param percent 0..100 (0 = off, 100 = full brightness). Values above 100 are
 *        clamped.
 * @return 0 on success, negative errno on failure.
 */
int display_set_brightness(uint8_t percent);

#ifdef __cplusplus
}
#endif

#endif /* DISPLAY_H_ */
```

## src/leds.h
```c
/*
 * LED Controller
 *
 * Controls the 5 button LEDs and the status LED.
 *
 * Pin Mapping (from schematic):
 *   LED 1 (J3): P1.07 (OUT_LED2) - Race button 1 LED
 *   LED 2 (J4): P1.05 (OUT_LED3) - Race button 2 LED
 *   LED 3 (J5): P1.03 (OUT_LED4) - Race button 3 LED
 *   LED 4 (J6): P1.01 (OUT_LED5) - Race button 4 LED
 *   LED 5 (J2): P1.06 (OUT_LED1) - Manual start/stop LED (auxiliary)
 *   Status:     P0.06 (STATUS)   - Active HIGH → Blue LED → R20 → GND
 */

#ifndef LEDS_H_
#define LEDS_H_

#include <zephyr/types.h>
#include <stdbool.h>

#ifdef __cplusplus
extern "C" {
#endif

#define NUM_BUTTON_LEDS 5

/**
 * @brief Initialize all LED GPIOs.
 * @return 0 on success, negative errno on failure.
 */
int leds_init(void);

/**
 * @brief Set a button LED on or off.
 * @param led_index LED number (1-5).
 * @param on true = LED on, false = LED off.
 */
void leds_set_button(uint8_t led_index, bool on);

/**
 * @brief Set the status LED on or off.
 * @param on true = LED on, false = LED off.
 */
void leds_set_status(bool on);

/**
 * @brief Turn off all button LEDs.
 */
void leds_all_off(void);

/**
 * @brief Turn on all button LEDs.
 */
void leds_all_on(void);

/**
 * @brief Blink the status LED (non-blocking, uses work queue).
 * @param on_ms  On duration in milliseconds.
 * @param off_ms Off duration in milliseconds.
 * @param count  Number of blinks (0 = blink forever). Use leds_set_status() to stop.
 */
void leds_status_blink(uint32_t on_ms, uint32_t off_ms, uint32_t count);

/**
 * @brief Blink a specific button LED continuously (non-blocking, work queue).
 * @param led_index LED number (1-5).
 * @param on_ms  On duration in milliseconds.
 * @param off_ms Off duration in milliseconds.
 */
void leds_blink_button(uint8_t led_index, uint32_t on_ms, uint32_t off_ms);

/**
 * @brief Blink all race button LEDs (1-4) in unison (non-blocking, work queue).
 * @param on_ms  On duration in milliseconds.
 * @param off_ms Off duration in milliseconds.
 */
void leds_blink_all_buttons(uint32_t on_ms, uint32_t off_ms);

/**
 * @brief Stop any ongoing button LED blink and turn the LEDs off.
 */
void leds_stop_blink_button(void);

#ifdef __cplusplus
}
#endif

#endif /* LEDS_H_ */
```

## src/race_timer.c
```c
/*
 * Race Timer Implementation
 *
 * Uses Zephyr kernel uptime for elapsed-time measurement.
 * The timer latches the last elapsed value when stopped so that reads after
 * stop() remain stable instead of continuing to grow.
 */

#include <stdint.h>
#include <zephyr/kernel.h>
#include <zephyr/logging/log.h>

#include "race_timer.h"

LOG_MODULE_REGISTER(race_timer, LOG_LEVEL_INF);

static int64_t start_time_ms;
static uint32_t latched_elapsed_ms;
static bool timer_running;

int race_timer_init(void)
{
    start_time_ms = 0;
    latched_elapsed_ms = 0;
    timer_running = false;

    LOG_INF("Race timer initialized");
    return 0;
}

void race_timer_start(void)
{
    start_time_ms = k_uptime_get();
    latched_elapsed_ms = 0;
    timer_running = true;

    LOG_INF("Race timer started at %lld ms", start_time_ms);
}

void race_timer_stop(void)
{
    if (timer_running) {
        int64_t now_ms = k_uptime_get();
        int64_t elapsed_ms = now_ms - start_time_ms;

        if (elapsed_ms < 0) {
            elapsed_ms = 0;
        }

        latched_elapsed_ms = (uint32_t)elapsed_ms;
        timer_running = false;
    }

    LOG_INF("Race timer stopped. Elapsed: %u ms", latched_elapsed_ms);
}

void race_timer_reset(void)
{
    start_time_ms = 0;
    latched_elapsed_ms = 0;
    timer_running = false;

    LOG_INF("Race timer reset");
}

uint32_t race_timer_get_ms(void)
{
    if (timer_running) {
        int64_t now_ms = k_uptime_get();
        int64_t elapsed_ms = now_ms - start_time_ms;

        if (elapsed_ms < 0) {
            return 0;
        }

        return (uint32_t)elapsed_ms;
    }

    return latched_elapsed_ms;
}

uint32_t race_timer_get_us(void)
{
    /* The firmware's source clock is millisecond-based, so report the ms value
     * in microseconds for API compatibility. */
    return race_timer_get_ms() * 1000U;
}

bool race_timer_is_running(void)
{
    return timer_running;
}
```
